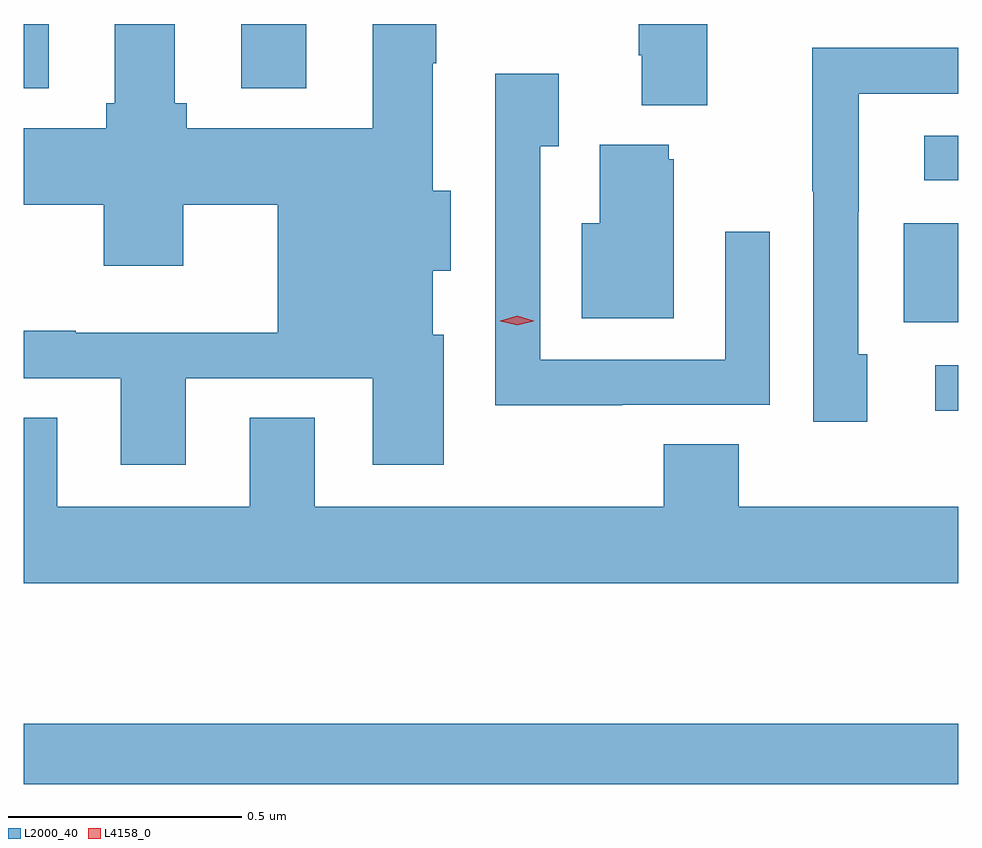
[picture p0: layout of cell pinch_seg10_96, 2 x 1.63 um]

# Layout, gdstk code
import gdstk
lib = gdstk.Library(unit=1e-6, precision=1e-09)
def R(c, l, rs):  # rectangles x0, y0, x1, y1
    for r in rs: c.add(gdstk.rectangle(r[:2], r[2:], *l))
def P(c, l, *ps):  # polygons
    for p in ps: c.add(gdstk.Polygon(p, *l))
L2000_40 = (2000, 40)
L4158_0 = (4158, 0)

pinch_seg10_96 = lib.new_cell('pinch_seg10_96')
R(pinch_seg10_96, L2000_40, [(720.458,1303.882,722.458,1304.011), (722.409,1304.681,722.458,1304.778), (722.342,1304.87,722.458,1305.082), (722.385,1305.174,722.458,1305.27), (720.458,1305.371,720.511,1305.509), (720.923,1305.371,721.063,1305.509)])
P(pinch_seg10_96, L2000_40, [(720.805,1304.751),(721.205,1304.751),(721.205,1304.565),(721.357,1304.565),(721.357,1304.844),(721.333,1304.844),(721.333,1304.981),(721.372,1304.981),(721.372,1305.152),(721.333,1305.152),(721.333,1305.425),(721.341,1305.425),(721.341,1305.509),(721.205,1305.509),(721.205,1305.286),(720.807,1305.286),(720.807,1305.339),(720.781,1305.339),(720.781,1305.509),(720.653,1305.509),(720.653,1305.339),(720.634,1305.339),(720.634,1305.286),(720.458,1305.286),(720.458,1305.122),(720.629,1305.122),(720.629,1304.991),(720.799,1304.991),(720.799,1305.122),(721.001,1305.122),(721.001,1304.848),(720.569,1304.848),(720.569,1304.852),(720.458,1304.852),(720.458,1304.751),(720.665,1304.751),(720.665,1304.565),(720.805,1304.565)],
  [(721.921,1305.509),(721.774,1305.509),(721.774,1305.442),(721.781,1305.442),(721.781,1305.335),(721.921,1305.335)],
  [(722.263,1304.802),(722.244,1304.802),(722.244,1305.106),(722.245,1305.106),(722.245,1305.36),(722.458,1305.36),(722.458,1305.458),(722.146,1305.458),(722.146,1305.151),(722.148,1305.151),(722.148,1304.658),(722.263,1304.658)],
  [(721.739,1304.694),(722.055,1304.694),(722.055,1305.064),(721.959,1305.064),(721.959,1304.79),(721.563,1304.79),(721.563,1305.247),(721.603,1305.247),(721.603,1305.403),(721.467,1305.403),(721.467,1304.693),(721.739,1304.693)],
  [(721.849,1305.219),(721.838,1305.219),(721.838,1305.25),(721.691,1305.25),(721.691,1305.082),(721.652,1305.082),(721.652,1304.879),(721.849,1304.879)],
  [(722.458,1304.476),(721.988,1304.476),(721.988,1304.609),(721.828,1304.609),(721.828,1304.476),(721.081,1304.476),(721.081,1304.666),(720.941,1304.666),(720.941,1304.476),(720.529,1304.476),(720.529,1304.666),(720.458,1304.666),(720.458,1304.312),(722.458,1304.312)])
P(pinch_seg10_96, L4158_0, [(721.514,1304.864),(721.478,1304.873),(721.478,1304.874),(721.478,1304.874),(721.514,1304.884),(721.55,1304.874),(721.55,1304.874),(721.55,1304.873)])

lib.write_gds('pinch_seg10_96.gds')
